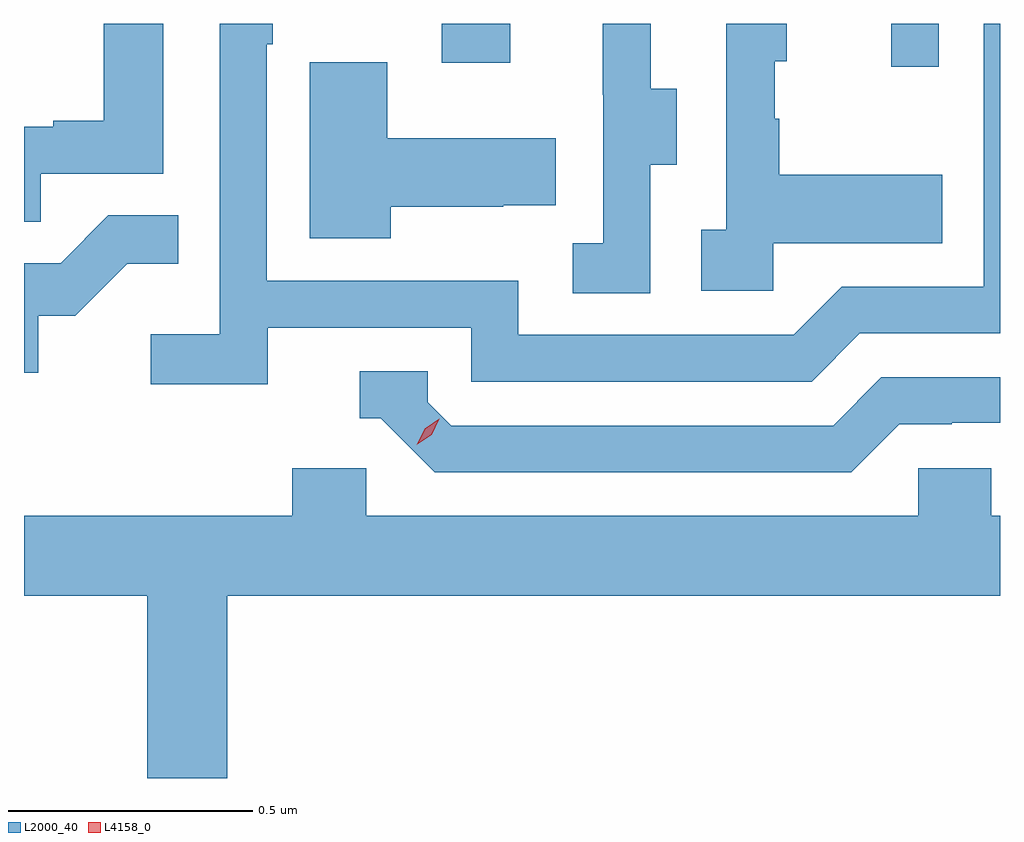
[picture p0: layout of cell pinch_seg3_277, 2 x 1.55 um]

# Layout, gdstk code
import gdstk
lib = gdstk.Library(unit=1e-6, precision=1e-09)
def R(c, l, rs):  # rectangles x0, y0, x1, y1
    for r in rs: c.add(gdstk.rectangle(r[:2], r[2:], *l))
def P(c, l, *ps):  # polygons
    for p in ps: c.add(gdstk.Polygon(p, *l))
L2000_40 = (2000, 40)
L4158_0 = (4158, 0)

pinch_seg3_277 = lib.new_cell('pinch_seg3_277')
R(pinch_seg3_277, L2000_40, [(897.8,712.656,897.897,712.745), (896.879,712.665,897.019,712.745)])
P(pinch_seg3_277, L2000_40, [(897.558,712.295),(897.905,712.295),(897.905,712.435),(897.571,712.435),(897.571,712.55),(897.561,712.55),(897.561,712.668),(897.586,712.668),(897.586,712.745),(897.462,712.745),(897.462,712.322),(897.411,712.322),(897.411,712.197),(897.558,712.197)],
  [(896.057,712.437),(896.308,712.437),(896.308,712.745),(896.186,712.745),(896.186,712.546),(896.083,712.546),(896.083,712.533),(896.023,712.533),(896.023,712.339),(896.057,712.339)],
  [(897.306,712.456),(897.361,712.456),(897.361,712.611),(897.307,712.611),(897.307,712.745),(897.209,712.745),(897.209,712.599),(897.21,712.599),(897.21,712.295),(897.147,712.295),(897.147,712.192),(897.306,712.192)],
  [(896.522,712.122),(896.94,712.122),(896.94,712.011),(897.637,712.011),(897.736,712.11),(898.023,712.11),(898.023,712.745),(897.99,712.745),(897.99,712.206),(897.699,712.206),(897.6,712.107),(897.036,712.107),(897.036,712.218),(896.52,712.218),(896.52,712.703),(896.533,712.703),(896.533,712.745),(896.424,712.745),(896.424,712.108),(896.283,712.108),(896.283,712.006),(896.522,712.006)],
  [(896.775,712.37),(897.005,712.37),(897.005,712.373),(897.113,712.373),(897.113,712.51),(896.767,712.51),(896.767,712.666),(896.609,712.666),(896.609,712.305),(896.775,712.305)],
  [(896.052,712.146),(896.128,712.146),(896.235,712.253),(896.339,712.253),(896.339,712.352),(896.196,712.352),(896.098,712.254),(896.023,712.254),(896.023,712.029),(896.052,712.029)],
  [(897.817,711.924),(897.924,711.924),(897.924,711.927),(898.023,711.927),(898.023,712.02),(897.78,712.02),(897.681,711.921),(896.898,711.921),(896.85,711.969),(896.85,712.032),(896.711,712.032),(896.711,711.936),(896.754,711.936),(896.865,711.825),(897.718,711.825)],
  [(896.44,711.572),(898.023,711.572),(898.023,711.736),(898.005,711.736),(898.005,711.834),(897.855,711.834),(897.855,711.736),(896.724,711.736),(896.724,711.834),(896.573,711.834),(896.573,711.736),(896.023,711.736),(896.023,711.572),(896.276,711.572),(896.276,711.198),(896.44,711.198)])
P(pinch_seg3_277, L4158_0, [(896.828,711.882),(896.828,711.882),(896.844,711.915),(896.874,711.935),(896.874,711.935),(896.874,711.935),(896.859,711.902),(896.828,711.882)])

lib.write_gds('pinch_seg3_277.gds')
